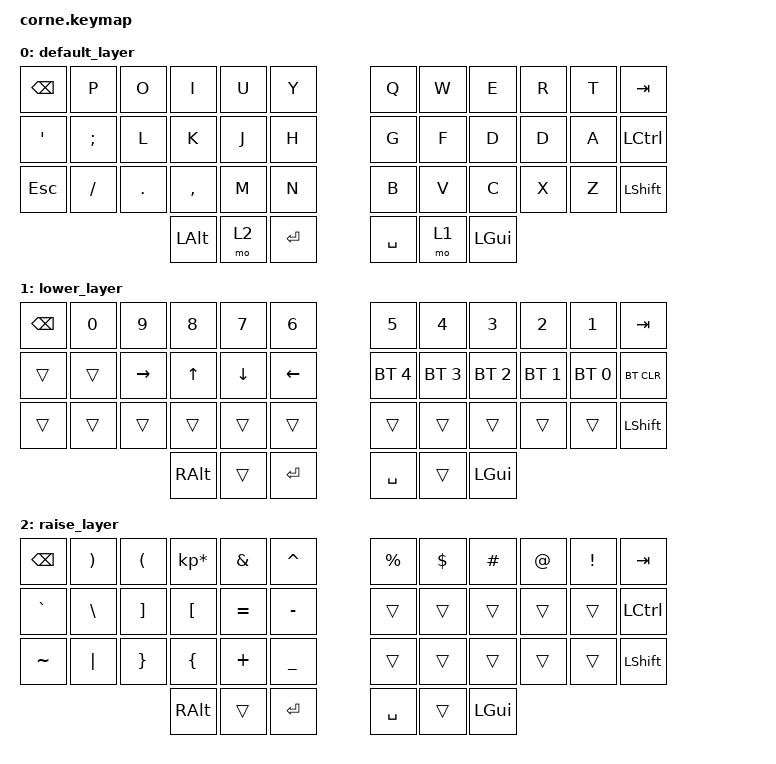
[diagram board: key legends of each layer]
/*
 * Copyright (c) 2020 The ZMK Contributors
 *
 * SPDX-License-Identifier: MIT
 */

#include <behaviors.dtsi>
#include <dt-bindings/zmk/keys.h>
#include <dt-bindings/zmk/bt.h>

/ {
        keymap {
                compatible = "zmk,keymap";

                default_layer {
// -----------------------------------------------------------------------------------------
// |  TAB |  Q  |  W  |  E  |  R  |  T  |   |  Y  |  U   |  I  |  O  |  P  | BKSP |
// | CTRL |  A  |  S  |  D  |  F  |  G  |   |  H  |  J   |  K  |  L  |  ;  |  '   |
// | SHFT |  Z  |  X  |  C  |  V  |  B  |   |  N  |  M   |  ,  |  .  |  /  | ESC  |
//                    | GUI | LWR | SPC |   | ENT | RSE  | ALT |
                        bindings = <
   &kp BSPC  &kp P    &kp O   &kp I     &kp U &kp Y   &kp Q &kp W  &kp E &kp R &kp T &kp TAB
   &kp SQT   &kp SEMI &kp L   &kp K     &kp J &kp H   &kp G &kp F  &kp D &kp D &kp A &kp LCTRL
   &kp ESC   &kp FSLH &kp DOT &kp COMMA &kp M &kp N   &kp B &kp V  &kp C &kp X &kp Z &kp LSHFT
                              &kp LALT  &mo 2 &kp RET   &kp SPACE &mo 1 &kp LGUI
                        >;
                };
                lower_layer {
// -----------------------------------------------------------------------------------------
// |  TAB |  1  |  2  |  3  |  4  |  5  |   |  6  |  7  |  8  |  9  |  0  | BKSP |
// | BTCLR| BT1 | BT2 | BT3 | BT4 | BT5 |   | LFT | DWN |  UP | RGT |     |      |
// | SHFT |     |     |     |     |     |   |     |     |     |     |     |      |
//                    | GUI |     | SPC |   | ENT |     | ALT |
                        bindings = <
   &kp BSPC &kp N0 &kp N9    &kp N8   &kp N7   &kp N6    &kp N5       &kp N4       &kp N3       &kp N2       &kp N1       &kp TAB
   &trans   &trans &kp RIGHT &kp UP   &kp DOWN &kp LEFT  &bt BT_SEL 4 &bt BT_SEL 3 &bt BT_SEL 2 &bt BT_SEL 1 &bt BT_SEL 0 &bt BT_CLR
   &trans   &trans &trans    &trans   &trans   &trans    &trans       &trans       &trans       &trans       &trans       &kp LSHFT
                             &kp RALT &trans   &kp RET   &kp SPACE    &trans       &kp LGUI
                        >;
                };

                raise_layer {
// -----------------------------------------------------------------------------------------
// |  TAB |  !  |  @  |  #  |  $  |  %  |   |  ^  |  &  |  *  |  (  |  )  | BKSP |
// | CTRL |     |     |     |     |     |   |  -  |  =  |  [  |  ]  |  \  |  `   |
// | SHFT |     |     |     |     |     |   |  _  |  +  |  {  |  }  | "|" |  ~   |
//                    | GUI |     | SPC |   | ENT |     | ALT |
                        bindings = <
   &kp BSPC  &kp RPAR &kp LPAR &kp KP_MULTIPLY &kp AMPS  &kp CARET   &kp PRCNT &kp DLLR  &kp HASH &kp AT &kp EXCL &kp TAB
   &kp GRAVE &kp BSLH &kp RBKT &kp LBKT        &kp EQUAL &kp MINUS   &trans    &trans    &trans   &trans &trans   &kp LCTRL
   &kp TILDE &kp PIPE &kp RBRC &kp LBRC        &kp PLUS  &kp UNDER   &trans    &trans    &trans   &trans &trans   &kp LSHFT
                             &kp RALT &trans   &kp RET   &kp SPACE   &trans    &kp LGUI
                        >;
                };
        };
};

&led_strip {
    chain-length = <27>;
};
